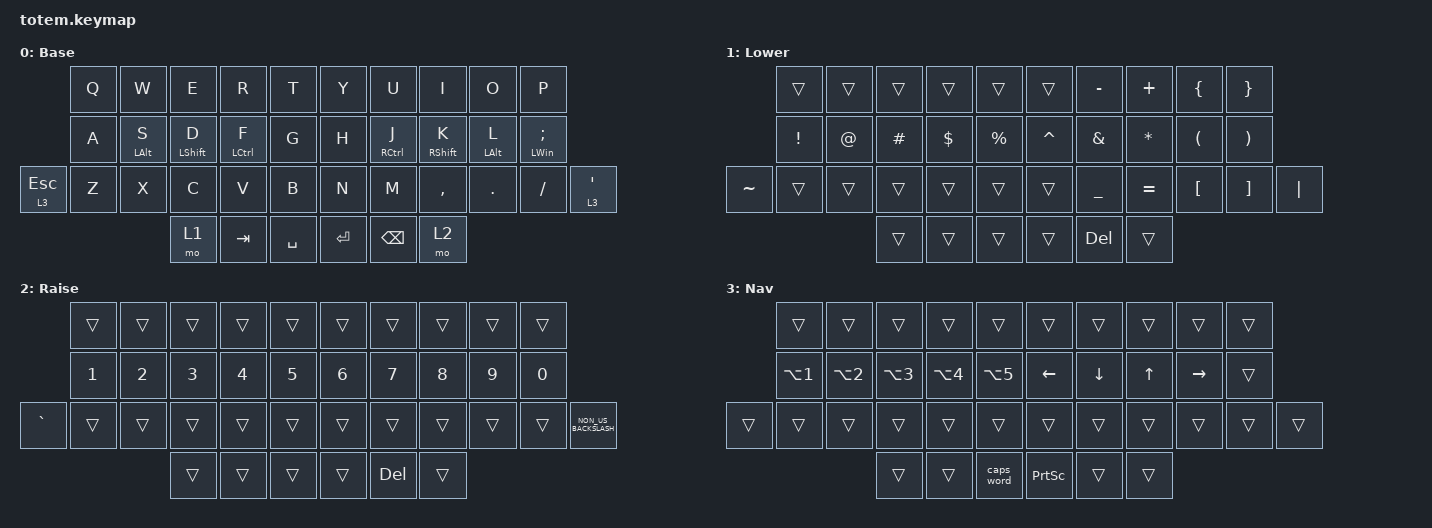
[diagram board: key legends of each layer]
//
//                                                        ▀▀▀▀▀     ▀▀▀▀▀          ▀▀█▀▀
//                                                        ▄▀▀▀▄  ▄  ▄▀▀▀▄  ▄  ▄▀▀▀▄  █  ▄▀▀▀▄
//                                                        █   █  █  █   █  █  █   █  █  █   █
//                                                         ▀▀▀   █   ▀▀▀   █   ▀▀▀   ▀   ▀▀▀
//                                                               █      ▄▄▄█▄▄▄    █   █  
//                                                               ▀      █  █  █     █▄█
//                                                             ▀▀▀▀▀    █  █  █      ▀
//                                                                      ▀  ▀  ▀
//
// ▄▄▄▄▄▄▄▄▄▄▄▄▄▄▄▄▄▄▄▄▄▄▄▄▄▄▄▄▄▄▄▄▄▄▄▄▄▄▄▄▄▄▄▄▄▄▄▄▄▄▄▄▄▄▄▄▄▄▄▄▄▄▄▄▄▄▄▄▄▄▄▄▄▄▄▄▄▄▄▄▄▄▄▄▄▄▄▄▄▄▄▄▄▄▄▄▄▄▄▄▄▄▄▄▄▄▄▄▄▄▄▄▄▄▄▄▄▄▄▄▄▄▄▄▄▄▄▄▄▄▄▄▄▄▄▄▄▄▄▄▄▄▄▄▄▄▄▄▄

#include <behaviors.dtsi>
#include <dt-bindings/zmk/keys.h>

#define Base        0
#define Media       1
#define Nav         2
#define Mouse       3
#define Sym         4
#define Num         5
#define Fun         6
#define Button      7
#define Game        8
#define Gameplus    9

/ {
    behaviors {
        hm: homerow_mods {
            compatible = "zmk,behavior-hold-tap";
            label = "HOMEROW_MODS";
            #binding-cells = <2>;
            flavor = "tap-preferred";
            tapping-term-ms = <200>;
            quick-tap-ms = <125>;
            global-quick-tap;
            bindings = <&kp>, <&kp>;
        };
    };

    combos { compatible = "zmk,combos"; };

    keymap {
        compatible = "zmk,keymap";

        Base {
            label = "Base";
            bindings = <
           &kp Q  &kp W       &kp E         &kp R               &kp T        &kp Y    &kp U                &kp I              &kp O       &kp P
           &kp A  &hm LALT S  &hm LSHIFT D  &hm LEFT_CONTROL F  &kp G        &kp H    &hm RIGHT_CONTROL J  &hm RIGHT_SHIFT K  &hm LALT L  &hm LEFT_WIN SEMI
&lt 3 ESC  &kp Z  &kp X       &kp C         &kp V               &kp B        &kp N    &kp M                &kp COMMA          &kp DOT     &kp SLASH          &lt 3 APOS
                              &mo 1         &kp TAB             &kp SPACE    &kp RET  &kp BACKSPACE        &mo 2
            >;
        };

        Lower {
            label = "Lower";
            bindings = <
           &trans           &trans       &trans    &trans      &trans         &trans     &kp MINUS       &kp PLUS      &kp LEFT_BRACE        &kp RIGHT_BRACE
           &kp EXCLAMATION  &kp AT_SIGN  &kp HASH  &kp DOLLAR  &kp PERCENT    &kp CARET  &kp AMPERSAND   &kp ASTERISK  &kp LEFT_PARENTHESIS  &kp RIGHT_PARENTHESIS
&kp TILDE  &trans           &trans       &trans    &trans      &trans         &trans     &kp UNDERSCORE  &kp EQUAL     &kp LEFT_BRACKET      &kp RIGHT_BRACKET      &kp PIPE
                                         &trans    &trans      &trans         &trans     &kp DEL         &trans
            >;
        };

        Raise {
            label = "Raise";
            bindings = <
           &trans        &trans        &trans        &trans        &trans    &trans        &trans   &trans  &trans  &trans
           &kp NUMBER_1  &kp NUMBER_2  &kp NUMBER_3  &kp NUMBER_4  &kp N5    &kp NUMBER_6  &kp N7   &kp N8  &kp N9  &kp N0
&kp GRAVE  &trans        &trans        &trans        &trans        &trans    &trans        &trans   &trans  &trans  &trans  &kp NON_US_BACKSLASH
                                       &trans        &trans        &trans    &trans        &kp DEL  &trans
            >;
        };

        Nav {
            label = "Nav";
            bindings = <
        &trans            &trans            &trans            &trans            &trans        &trans           &trans          &trans        &trans     &trans
        &kp LA(NUMBER_1)  &kp LA(NUMBER_2)  &kp LA(NUMBER_3)  &kp LA(NUMBER_4)  &kp LA(N5)    &kp LEFT         &kp DOWN_ARROW  &kp UP_ARROW  &kp RIGHT  &trans
&trans  &trans            &trans            &trans            &trans            &trans        &trans           &trans          &trans        &trans     &trans  &trans
                                            &trans            &trans            &caps_word    &kp PRINTSCREEN  &trans          &trans
            >;
        };
    };
};
